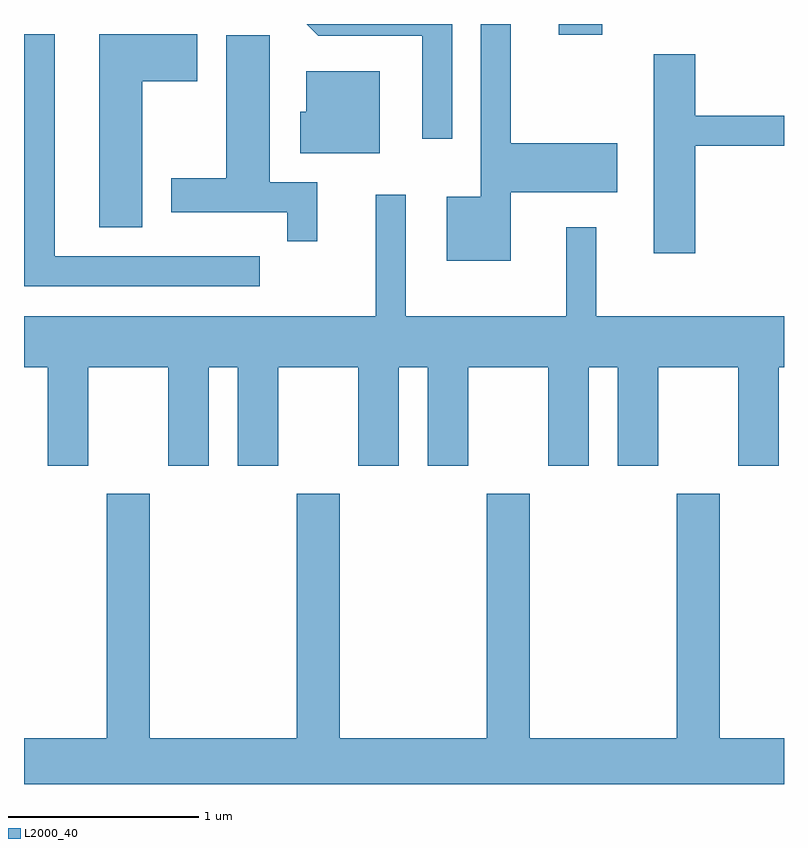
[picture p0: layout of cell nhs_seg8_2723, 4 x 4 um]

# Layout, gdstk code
import gdstk
lib = gdstk.Library(unit=1e-6, precision=1e-09)
def R(c, l, rs):  # rectangles x0, y0, x1, y1
    for r in rs: c.add(gdstk.rectangle(r[:2], r[2:], *l))
def P(c, l, *ps):  # polygons
    for p in ps: c.add(gdstk.Polygon(p, *l))
L2000_40 = (2000, 40)

nhs_seg8_2723 = lib.new_cell('nhs_seg8_2723')
R(nhs_seg8_2723, L2000_40, [(268.426,1940.286,268.654,1940.342)])
P(nhs_seg8_2723, L2000_40, [(267.864,1940.342),(267.098,1940.342),(267.159,1940.281),(267.706,1940.281),(267.706,1939.738),(267.864,1939.738)],
  [(268.174,1939.456),(268.734,1939.456),(268.734,1939.714),(268.174,1939.714),(268.174,1940.342),(268.016,1940.342),(268.016,1939.434),(267.836,1939.434),(267.836,1939.096),(268.174,1939.096)],
  [(266.234,1940.041),(266.524,1940.041),(266.524,1940.289),(266.006,1940.289),(266.006,1939.271),(266.234,1939.271)],
  [(266.853,1939.119),(265.774,1939.119),(265.774,1940.289),(265.611,1940.289),(265.611,1938.961),(266.853,1938.961)],
  [(267.154,1939.509),(266.904,1939.509),(266.904,1940.284),(266.676,1940.284),(266.676,1939.529),(266.386,1939.529),(266.386,1939.351),(266.996,1939.351),(266.996,1939.198),(267.154,1939.198)],
  [(269.144,1939.701),(269.611,1939.701),(269.611,1939.859),(269.144,1939.859),(269.144,1940.184),(268.926,1940.184),(268.926,1939.136),(269.144,1939.136)],
  [(267.484,1940.094),(267.096,1940.094),(267.096,1939.879),(267.066,1939.879),(267.066,1939.661),(267.484,1939.661)],
  [(265.949,1938.536),(266.371,1938.536),(266.371,1938.016),(266.584,1938.016),(266.584,1938.536),(266.736,1938.536),(266.736,1938.016),(266.949,1938.016),(266.949,1938.536),(267.371,1938.536),(267.371,1938.016),(267.584,1938.016),(267.584,1938.536),(267.736,1938.536),(267.736,1938.016),(267.949,1938.016),(267.949,1938.536),(268.371,1938.536),(268.371,1938.016),(268.584,1938.016),(268.584,1938.536),(268.736,1938.536),(268.736,1938.016),(268.949,1938.016),(268.949,1938.536),(269.371,1938.536),(269.371,1938.016),(269.584,1938.016),(269.584,1938.536),(269.611,1938.536),(269.611,1938.804),(268.624,1938.804),(268.624,1939.273),(268.466,1939.273),(268.466,1938.804),(267.619,1938.804),(267.619,1939.443),(267.461,1939.443),(267.461,1938.804),(265.611,1938.804),(265.611,1938.536),(265.736,1938.536),(265.736,1938.016),(265.949,1938.016)],
  [(269.611,1936.584),(269.274,1936.584),(269.274,1937.869),(269.046,1937.869),(269.046,1936.584),(268.274,1936.584),(268.274,1937.869),(268.046,1937.869),(268.046,1936.584),(267.274,1936.584),(267.274,1937.869),(267.046,1937.869),(267.046,1936.584),(266.274,1936.584),(266.274,1937.869),(266.046,1937.869),(266.046,1936.584),(265.611,1936.584),(265.611,1936.342),(269.611,1936.342)])

lib.write_gds('nhs_seg8_2723.gds')
